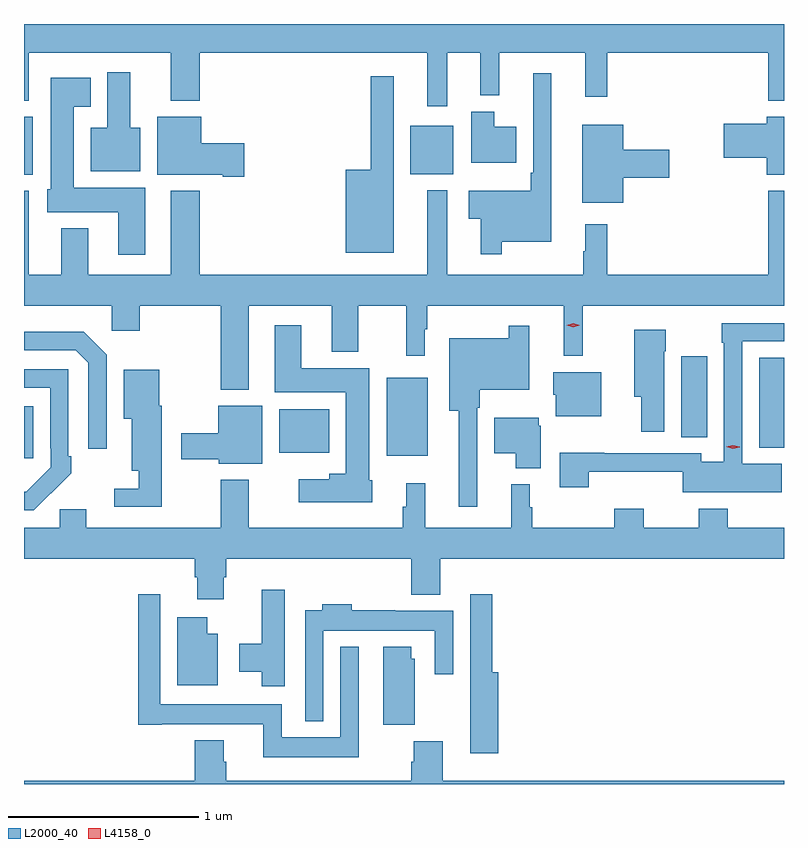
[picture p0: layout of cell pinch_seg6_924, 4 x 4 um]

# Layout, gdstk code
import gdstk
lib = gdstk.Library(unit=1e-6, precision=1e-09)
def R(c, l, rs):  # rectangles x0, y0, x1, y1
    for r in rs: c.add(gdstk.rectangle(r[:2], r[2:], *l))
def P(c, l, *ps):  # polygons
    for p in ps: c.add(gdstk.Polygon(p, *l))
L2000_40 = (2000, 40)
L4158_0 = (4158, 0)

pinch_seg6_924 = lib.new_cell('pinch_seg6_924')
R(pinch_seg6_924, L2000_40, [(299.532,923.889,299.581,924.163), (301.442,923.903,301.657,924.313), (300.875,923.918,301.138,924.148), (303.401,923.945,303.532,924.419), (302.99,924.001,303.127,924.427), (299.532,925.382,299.578,925.687), (301.565,925.385,301.792,925.639)])
P(pinch_seg6_924, L2000_40, [(301.759,926.024),(301.934,926.024),(301.934,925.799),(302.033,925.799),(302.033,926.024),(302.486,926.024),(302.486,925.791),(302.603,925.791),(302.603,926.024),(303.449,926.024),(303.449,925.772),(303.532,925.772),(303.532,926.175),(299.532,926.175),(299.532,925.772),(299.557,925.772),(299.557,926.024),(300.305,926.024),(300.305,925.772),(300.458,925.772),(300.458,926.024),(301.655,926.024),(301.655,925.743),(301.759,925.743)],
  [(300.145,925.63),(300.091,925.63),(300.091,925.921),(299.969,925.921),(299.969,925.63),(299.882,925.63),(299.882,925.4),(300.145,925.4)],
  [(302.047,925.028),(302.308,925.028),(302.308,925.915),(302.211,925.915),(302.211,925.393),(302.199,925.393),(302.199,925.297),(301.874,925.297),(301.874,925.15),(301.937,925.15),(301.937,924.963),(302.047,924.963)],
  [(301.477,925.9),(301.356,925.9),(301.356,925.408),(301.226,925.408),(301.226,924.971),(301.477,924.971)],
  [(300.169,925.312),(299.794,925.312),(299.794,925.739),(299.884,925.739),(299.884,925.891),(299.672,925.891),(299.672,925.305),(299.654,925.305),(299.654,925.184),(300.029,925.184),(300.029,924.96),(300.169,924.96)],
  [(302.122,925.633),(302.008,925.633),(302.008,925.714),(301.886,925.714),(301.886,925.445),(302.122,925.445)],
  [(300.691,925.548),(300.466,925.548),(300.466,925.687),(300.233,925.687),(300.233,925.382),(300.578,925.382),(300.578,925.37),(300.691,925.37)],
  [(303.532,925.687),(303.44,925.687),(303.44,925.65),(303.216,925.65),(303.216,925.472),(303.44,925.472),(303.44,925.382),(303.532,925.382)],
  [(302.686,925.367),(302.929,925.367),(302.929,925.514),(302.686,925.514),(302.686,925.645),(302.471,925.645),(302.471,925.235),(302.686,925.235)],
  [(300.715,924.692),(301.151,924.692),(301.151,924.449),(301.291,924.449),(301.291,924.692),(301.543,924.692),(301.543,924.429),(301.641,924.429),(301.641,924.569),(301.654,924.569),(301.654,924.692),(302.372,924.692),(302.372,924.429),(302.474,924.429),(302.474,924.692),(303.532,924.692),(303.532,925.297),(303.449,925.297),(303.449,924.856),(302.603,924.856),(302.603,925.12),(302.486,925.12),(302.486,924.98),(302.475,924.98),(302.475,924.856),(301.759,924.856),(301.759,925.3),(301.655,925.3),(301.655,924.856),(300.458,924.856),(300.458,925.297),(300.305,925.297),(300.305,924.856),(299.869,924.856),(299.869,925.099),(299.729,925.099),(299.729,924.856),(299.557,924.856),(299.557,925.297),(299.532,925.297),(299.532,924.692),(299.994,924.692),(299.994,924.561),(300.141,924.561),(300.141,924.692),(300.568,924.692),(300.568,924.251),(300.715,924.251)],
  [(303.52,923.86),(303.312,923.86),(303.312,924.504),(303.532,924.504),(303.532,924.6),(303.204,924.6),(303.204,924.497),(303.216,924.497),(303.216,923.872),(303.096,923.872),(303.096,923.916),(302.587,923.916),(302.587,923.918),(302.351,923.918),(302.351,923.736),(302.504,923.736),(302.504,923.819),(303,923.819),(303,923.711),(303.52,923.711)],
  [(301.366,923.775),(301.348,923.775),(301.348,924.364),(300.991,924.364),(300.991,924.589),(300.851,924.589),(300.851,924.236),(301.226,924.236),(301.226,923.809),(301.139,923.809),(301.139,923.779),(300.978,923.779),(300.978,923.657),(301.366,923.657)],
  [(301.917,924.155),(301.93,924.155),(301.93,924.251),(302.19,924.251),(302.19,924.586),(302.082,924.586),(302.082,924.52),(301.769,924.52),(301.769,924.14),(301.82,924.14),(301.82,923.634),(301.917,923.634)],
  [(302.902,924.452),(302.91,924.452),(302.91,924.565),(302.744,924.565),(302.744,924.212),(302.78,924.212),(302.78,924.03),(302.902,924.03)],
  [(299.967,924.435),(299.846,924.556),(299.532,924.556),(299.532,924.459),(299.805,924.459),(299.871,924.393),(299.871,923.94),(299.967,923.94)],
  [(299.675,923.707),(299.676,923.706),(299.781,923.811),(299.781,923.899),(299.766,923.899),(299.766,924.357),(299.532,924.357),(299.532,924.261),(299.67,924.261),(299.67,923.941),(299.673,923.941),(299.673,923.841),(299.545,923.713),(299.532,923.713),(299.532,923.616),(299.584,923.616)],
  [(300.256,924.165),(300.244,924.165),(300.244,924.355),(300.056,924.355),(300.056,924.098),(300.098,924.098),(300.098,923.825),(300.135,923.825),(300.135,923.73),(300.006,923.73),(300.006,923.634),(300.256,923.634)],
  [(302.569,924.343),(302.318,924.343),(302.318,924.225),(302.331,924.225),(302.331,924.11),(302.569,924.11)],
  [(300.787,924.166),(300.554,924.166),(300.554,924.02),(300.36,924.02),(300.36,923.885),(300.558,923.885),(300.558,923.861),(300.787,923.861)],
  [(302.253,924.06),(302.242,924.06),(302.242,924.103),(302.006,924.103),(302.006,923.915),(302.12,923.915),(302.12,923.837),(302.253,923.837)],
  [(301.571,923.171),(301.723,923.171),(301.723,923.36),(303.532,923.36),(303.532,923.524),(303.237,923.524),(303.237,923.623),(303.082,923.623),(303.082,923.524),(302.793,923.524),(302.793,923.623),(302.638,923.623),(302.638,923.524),(302.206,923.524),(302.206,923.631),(302.194,923.631),(302.194,923.752),(302.096,923.752),(302.096,923.524),(301.643,923.524),(301.643,923.758),(301.544,923.758),(301.544,923.633),(301.525,923.633),(301.525,923.524),(300.715,923.524),(300.715,923.776),(300.568,923.776),(300.568,923.524),(299.86,923.524),(299.86,923.622),(299.721,923.622),(299.721,923.524),(299.532,923.524),(299.532,923.36),(300.431,923.36),(300.431,923.262),(300.443,923.262),(300.443,923.148),(300.583,923.148),(300.583,923.262),(300.596,923.262),(300.596,923.36),(301.571,923.36)],
  [(300.904,923.197),(300.782,923.197),(300.782,922.914),(300.665,922.914),(300.665,922.766),(300.782,922.766),(300.782,922.689),(300.904,922.689)],
  [(301.294,922.897),(301.197,922.897),(301.197,922.42),(300.888,922.42),(300.888,922.594),(300.249,922.594),(300.249,923.173),(300.133,923.173),(300.133,922.488),(300.256,922.488),(300.256,922.49),(300.791,922.49),(300.791,922.316),(301.294,922.316)],
  [(302.027,922.762),(301.997,922.762),(301.997,923.173),(301.881,923.173),(301.881,922.658),(301.88,922.658),(301.88,922.338),(302.027,922.338)],
  [(301.107,922.982),(301.695,922.982),(301.695,922.752),(301.791,922.752),(301.791,923.086),(301.487,923.086),(301.487,923.089),(301.256,923.089),(301.256,923.122),(301.103,923.122),(301.103,923.089),(301.011,923.089),(301.011,922.505),(301.107,922.505)],
  [(300.553,922.966),(300.496,922.966),(300.496,923.053),(300.338,923.053),(300.338,922.694),(300.553,922.694)],
  [(301.588,922.833),(301.57,922.833),(301.57,922.897),(301.424,922.897),(301.424,922.486),(301.588,922.486)],
  [(303.532,922.192),(301.736,922.192),(301.736,922.401),(301.583,922.401),(301.583,922.292),(301.571,922.292),(301.571,922.192),(300.596,922.192),(300.596,922.293),(300.583,922.293),(300.583,922.405),(300.431,922.405),(300.431,922.192),(299.532,922.192),(299.532,922.175),(303.532,922.175)])
P(pinch_seg6_924, L4158_0, [(302.422,924.579),(302.389,924.589),(302.389,924.589),(302.389,924.589),(302.422,924.599),(302.456,924.589),(302.456,924.589),(302.456,924.589)],
  [(303.263,923.939),(303.228,923.949),(303.228,923.949),(303.228,923.949),(303.263,923.959),(303.298,923.949),(303.298,923.948),(303.298,923.948)])

lib.write_gds('pinch_seg6_924.gds')
